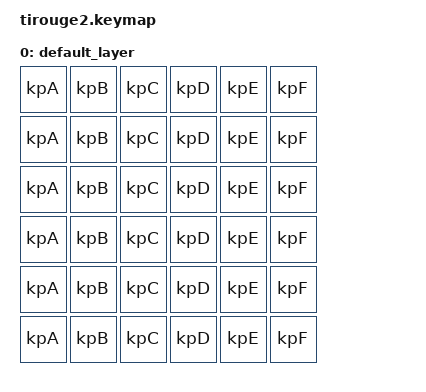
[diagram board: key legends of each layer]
#include <behaviors.dtsi>
#include <dt-bindings/zmk/keys.h>
#include <dt-bindings/zmk/bt.h>

/ {
    keymap {
        compatible = "zmk,keymap";

        default_layer {
            bindings = <
                &kp KP_A     &kp KP_B     &kp KP_C     &kp KP_D     &kp KP_E     &kp KP_F    
                &kp KP_A     &kp KP_B     &kp KP_C     &kp KP_D     &kp KP_E     &kp KP_F    
                &kp KP_A     &kp KP_B     &kp KP_C     &kp KP_D     &kp KP_E     &kp KP_F    
                &kp KP_A     &kp KP_B     &kp KP_C     &kp KP_D     &kp KP_E     &kp KP_F    
                &kp KP_A     &kp KP_B     &kp KP_C     &kp KP_D     &kp KP_E     &kp KP_F    
                &kp KP_A     &kp KP_B     &kp KP_C     &kp KP_D     &kp KP_E     &kp KP_F    
            >;
        };
    };
};
